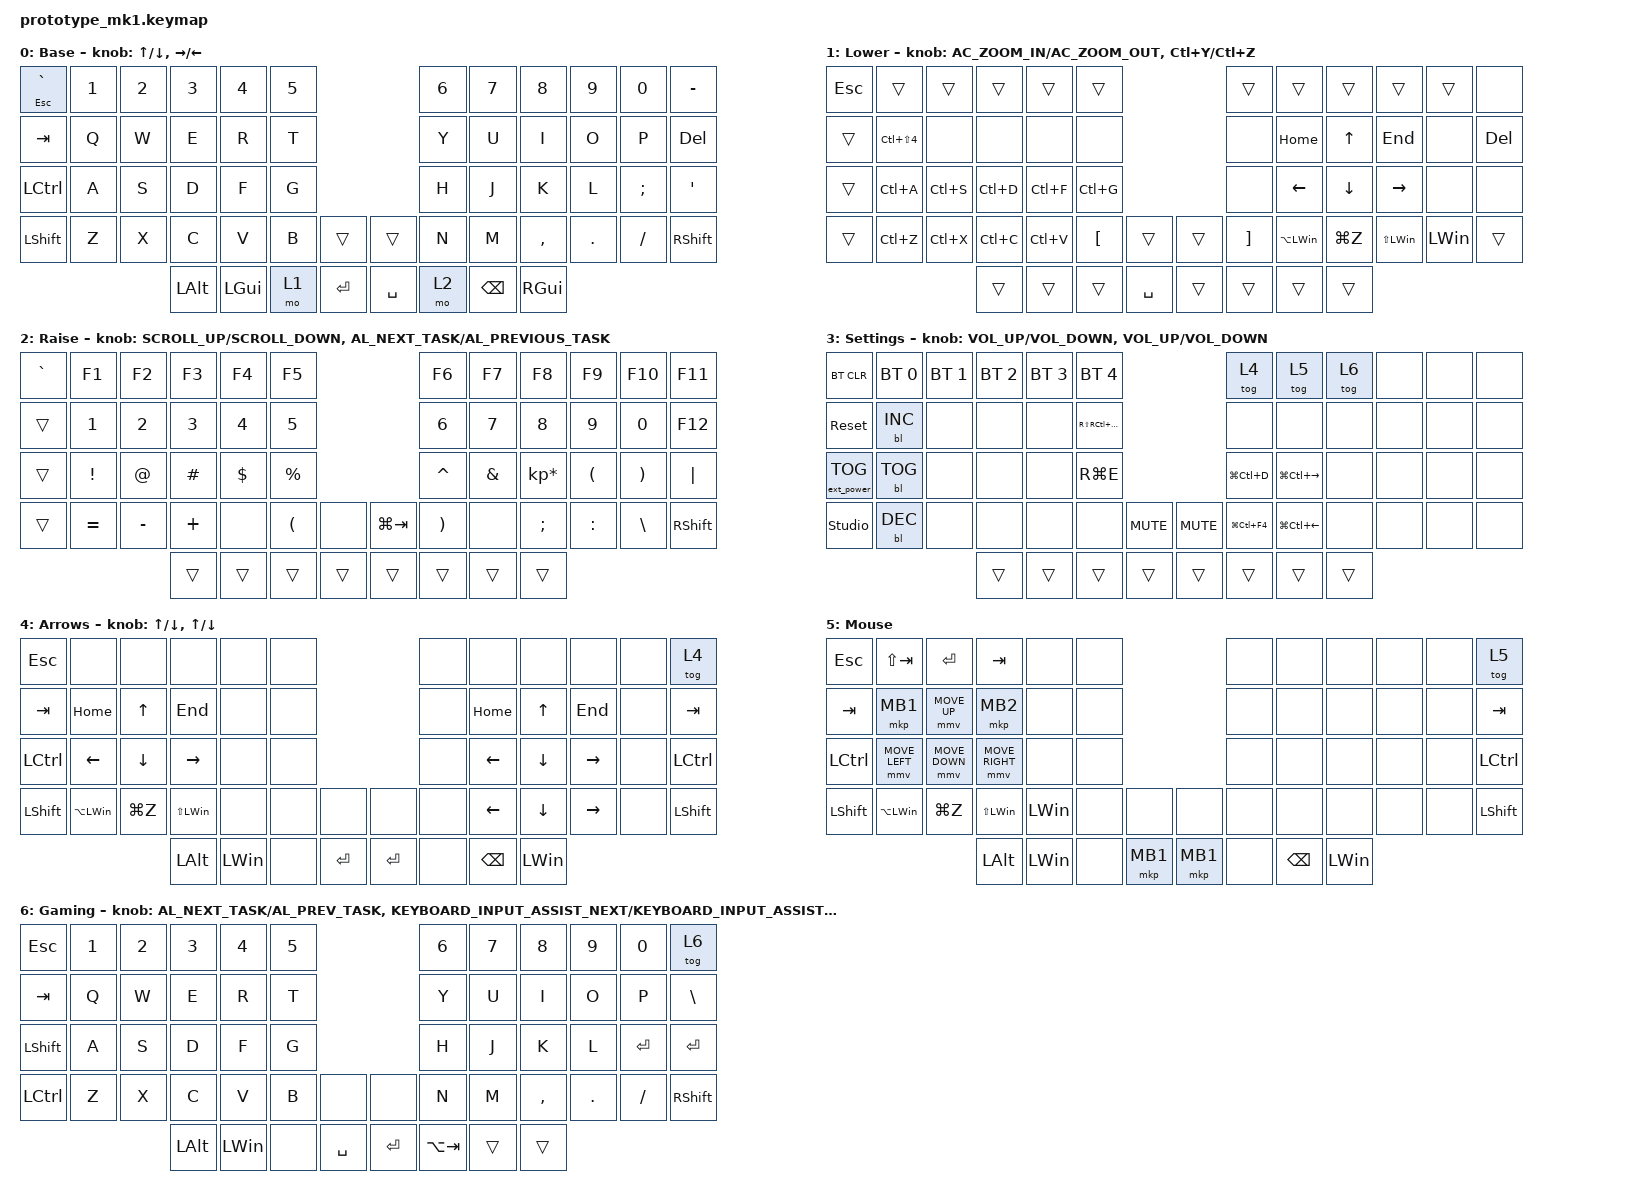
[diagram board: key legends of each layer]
/*
 * Copyright (c) 2020 The ZMK Contributors
 *
 * SPDX-License-Identifier: MIT
 */

#include <behaviors.dtsi>
#include <dt-bindings/zmk/backlight.h>
#include <dt-bindings/zmk/bt.h>
#include <dt-bindings/zmk/ext_power.h>
#include <dt-bindings/zmk/keys.h>
#include <dt-bindings/zmk/pointing.h>

#define BASE 0
#define LOWER 1
#define RAISE 2
#define ADJUST 3
#define SETTINGS 4
#define ARROWS 5
#define MOUSE 6
#define GAMES 7

/ {
    // Activate ADJUST layer by pressing raise and lower

    conditional_layers {
        compatible = "zmk,conditional-layers";

        condition_settings {
            if-layers = <1 2>;
            then-layer = <3>;
        };
    };

    behaviors {
        hold_esc: hold_esc {
            compatible = "zmk,behavior-hold-tap";
            label = "HOLD_ESC";
            bindings = <&kp>, <&kp>;

            #binding-cells = <2>;
            flavor = "tap-preferred";
            tapping-term-ms = <80>;
        };
    };

    keymap {
        compatible = "zmk,keymap";





        default_layer {
            display-name = "Base";
            bindings = <
&hold_esc ESCAPE GRAVE  &kp N1  &kp N2  &kp N3    &kp N4    &kp N5                        &kp N6  &kp N7    &kp N8     &kp N9   &kp N0    &kp MINUS
&kp TAB                 &kp Q   &kp W   &kp E     &kp R     &kp T                         &kp Y   &kp U     &kp I      &kp O    &kp P     &kp DELETE
&kp LCTRL               &kp A   &kp S   &kp D     &kp F     &kp G                         &kp H   &kp J     &kp K      &kp L    &kp SEMI  &kp SQT
&kp LSHFT               &kp Z   &kp X   &kp C     &kp V     &kp B   &trans     &trans     &kp N   &kp M     &kp COMMA  &kp DOT  &kp FSLH  &kp RSHFT
                                        &kp LALT  &kp LGUI  &mo 1   &kp ENTER  &kp SPACE  &mo 2   &kp BSPC  &kp RGUI
            >;

            sensor-bindings = <&inc_dec_kp UP DOWN>, <&inc_dec_kp RIGHT LEFT>;
        };






        layer_lower {
            display-name = "Lower";
            bindings = <
&kp ESC  &trans          &trans     &trans     &trans     &trans                               &trans             &trans            &trans          &trans            &trans        &none
&trans   &kp LC(LS(N4))  &none      &none      &none      &none                                &none              &kp HOME          &kp UP_ARROW    &kp END           &none         &kp DELETE
&trans   &kp LC(A)       &kp LC(S)  &kp LC(D)  &kp LC(F)  &kp LC(G)                            &none              &kp LEFT_ARROW    &kp DOWN_ARROW  &kp RIGHT_ARROW   &none         &none
&trans   &kp LC(Z)       &kp LC(X)  &kp LC(C)  &kp LC(V)  &kp LEFT_BRACKET  &trans     &trans  &kp RIGHT_BRACKET  &kp LA(LEFT_WIN)  &kp LG(Z)       &kp LS(LEFT_WIN)  &kp LEFT_WIN  &trans
                                    &trans     &trans     &trans            &kp SPACE  &trans  &trans             &trans            &trans
            >;

            sensor-bindings =
                <&inc_dec_kp C_AC_ZOOM_IN C_AC_ZOOM_OUT>,
                <&inc_dec_kp LC(Y) LC(Z)>;
        };






        layer_upper {
            display-name = "Raise";
            bindings = <
&kp GRAVE  &kp F1        &kp F2        &kp F3        &kp F4        &kp F5                                     &kp F6                 &kp F7    &kp F8           &kp F9     &kp F10        &kp F11
&trans     &kp NUMBER_1  &kp NUMBER_2  &kp NUMBER_3  &kp NUMBER_4  &kp N5                                     &kp NUMBER_6           &kp N7    &kp N8           &kp N9     &kp N0         &kp F12
&trans     &kp EXCL      &kp AT        &kp HASH      &kp DOLLAR    &kp PRCNT                                  &kp CARET              &kp AMPS  &kp KP_MULTIPLY  &kp LPAR   &kp RPAR       &kp PIPE
&trans     &kp EQUAL     &kp MINUS     &kp PLUS      &none         &kp LEFT_PARENTHESIS  &none   &kp LG(TAB)  &kp RIGHT_PARENTHESIS  &none     &kp SEMI         &kp COLON  &kp BACKSLASH  &kp RIGHT_SHIFT
                                       &trans        &trans        &trans                &trans  &trans       &trans                 &trans    &trans
            >;
            sensor-bindings =
                <&inc_dec_kp K_SCROLL_UP K_SCROLL_DOWN>,
                <&inc_dec_kp C_AL_NEXT_TASK C_AL_PREVIOUS_TASK>;
        };






        layer_settings {
            display-name = "Settings";
            bindings = <
&bt BT_CLR         &bt BT_SEL 0  &bt BT_SEL 1  &bt BT_SEL 2  &bt BT_SEL 3  &bt BT_SEL 4                                &tog 4          &tog 5             &tog 6  &none  &none  &none
&sys_reset         &bl BL_INC    &none         &none         &none         &kp RS(RC(ESCAPE))                          &none           &none              &none   &none  &none  &none
&ext_power EP_TOG  &bl BL_TOG    &none         &none         &none         &kp RG(E)                                   &kp LG(LC(D))   &kp LG(LC(RIGHT))  &none   &none  &none  &none
&studio_unlock     &bl BL_DEC    &none         &none         &none         &none               &kp K_MUTE  &kp K_MUTE  &kp LG(LC(F4))  &kp LG(LC(LEFT))   &none   &none  &none  &none
                                               &trans        &trans        &trans              &trans      &trans      &trans          &trans             &trans
            >;
            sensor-bindings =
                <&inc_dec_kp C_VOLUME_UP C_VOLUME_DOWN>,
                <&inc_dec_kp C_VOLUME_UP C_VOLUME_DOWN>;
        };





        layer_arrows {
            display-name = "Arrows";
            bindings = <
&kp ESCAPE        &none             &none           &none             &none     &none                        &none  &none           &none           &none            &none  &tog 4
&kp TAB           &kp HOME          &kp UP_ARROW    &kp END           &none     &none                        &none  &kp HOME        &kp UP_ARROW    &kp END          &none  &kp TAB
&kp LEFT_CONTROL  &kp LEFT_ARROW    &kp DOWN_ARROW  &kp RIGHT_ARROW   &none     &none                        &none  &kp LEFT_ARROW  &kp DOWN_ARROW  &kp RIGHT_ARROW  &none  &kp LEFT_CONTROL
&kp LEFT_SHIFT    &kp LA(LEFT_WIN)  &kp LG(Z)       &kp LS(LEFT_WIN)  &none     &none  &none      &none      &none  &kp LEFT_ARROW  &kp DOWN_ARROW  &kp RIGHT_ARROW  &none  &kp LEFT_SHIFT
                                                    &kp LEFT_ALT      &kp LWIN  &none  &kp ENTER  &kp ENTER  &none  &kp BACKSPACE   &kp LWIN
            >;
            sensor-bindings = 
                <&inc_dec_kp UP DOWN>, 
                <&inc_dec_kp UP DOWN>;
        };





        layer_mouse {
            display-name = "Mouse";
            bindings = <
&kp ESCAPE        &kp LS(TAB)       &kp ENTER       &kp TAB           &none         &none                      &none  &none          &none     &none  &none  &tog 5
&kp TAB           &mkp MB1          &mmv MOVE_UP    &mkp MB2          &none         &none                      &none  &none          &none     &none  &none  &kp TAB
&kp LEFT_CONTROL  &mmv MOVE_LEFT    &mmv MOVE_DOWN  &mmv MOVE_RIGHT   &none         &none                      &none  &none          &none     &none  &none  &kp LEFT_CONTROL
&kp LEFT_SHIFT    &kp LA(LEFT_WIN)  &kp LG(Z)       &kp LS(LEFT_WIN)  &kp LEFT_WIN  &none  &none     &none     &none  &none          &none     &none  &none  &kp LEFT_SHIFT
                                                    &kp LEFT_ALT      &kp LWIN      &none  &mkp MB1  &mkp MB1  &none  &kp BACKSPACE  &kp LWIN
            >;
        };





        layer_gaming {
            display-name = "Gaming";
            bindings = <
&kp ESCAPE  &kp N1  &kp N2  &kp N3        &kp N4        &kp N5                        &kp N6       &kp N7  &kp N8     &kp N9   &kp N0    &tog 6
&kp TAB     &kp Q   &kp W   &kp E         &kp R         &kp T                         &kp Y        &kp U   &kp I      &kp O    &kp P     &kp BSLH
&kp LSHFT   &kp A   &kp S   &kp D         &kp F         &kp G                         &kp H        &kp J   &kp K      &kp L    &kp RET   &kp RET
&kp LCTRL   &kp Z   &kp X   &kp C         &kp V         &kp B   &none      &none      &kp N        &kp M   &kp COMMA  &kp DOT  &kp FSLH  &kp RSHFT
                            &kp LEFT_ALT  &kp LEFT_WIN  &none   &kp SPACE  &kp ENTER  &kp LA(TAB)  &trans  &trans
            >;
            sensor-bindings =
                <&inc_dec_kp C_AL_NEXT_TASK C_AL_PREV_TASK>,
                <&inc_dec_kp C_KEYBOARD_INPUT_ASSIST_NEXT C_KEYBOARD_INPUT_ASSIST_PREVIOUS>;
        };
    };
};
